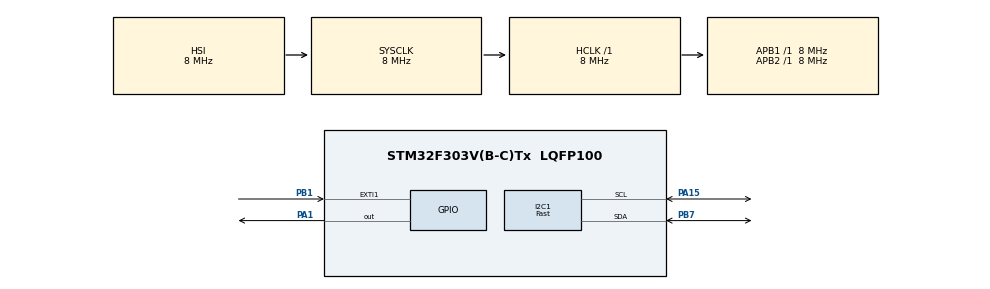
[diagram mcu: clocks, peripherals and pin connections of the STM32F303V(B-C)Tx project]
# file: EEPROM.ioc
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I2C1.I2C_Speed_Mode=I2C_Fast
I2C1.Timing=0x0000020B
Mcu.Family=STM32F3
Mcu.Name=STM32F303V(B-C)Tx
Mcu.Package=LQFP100
NVIC.EXTI1_IRQn=true\:0\:0\:false\:false\:true\:true\:true\:true
NVIC.PriorityGroup=NVIC_PRIORITYGROUP_4
PA1.Signal=GPIO_Output
PA13.Mode=Serial_Wire
PA13.Signal=SYS_JTMS-SWDIO
PA14.Mode=Serial_Wire
PA14.Signal=SYS_JTCK-SWCLK
PA15.Mode=I2C
PA15.Signal=I2C1_SCL
PB1.Signal=GPXTI1
PB7.Mode=I2C
PB7.Signal=I2C1_SDA
ProjectManager.HeapSize=0x200
ProjectManager.StackSize=0x400
ProjectManager.TargetToolchain=STM32CubeIDE
RCC.AHBFreq_Value=8000000
RCC.APB1Freq_Value=8000000
RCC.APB2Freq_Value=8000000
RCC.CortexFreq_Value=8000000
RCC.HSE_VALUE=8000000
RCC.HSI_VALUE=8000000
RCC.LSE_VALUE=32768
RCC.SYSCLKFreq_VALUE=8000000
board=custom

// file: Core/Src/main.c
/* USER CODE BEGIN Header */
/**
  ******************************************************************************
  * @file           : main.c
  * @brief          : Main program body
  ******************************************************************************
  * @attention
  *
  * Copyright (c) 2024 STMicroelectronics.
  * All rights reserved.
  *
  * This software is licensed under terms that can be found in the LICENSE file
  * in the root directory of this software component.
  * If no LICENSE file comes with this software, it is provided AS-IS.
  *
  ******************************************************************************
  */
/* USER CODE END Header */
#include "main.h"

I2C_HandleTypeDef hi2c1;

/* USER CODE BEGIN PV */

#define EEPROM_ADDR 0xA0
uint8_t toWriteN[] = "N";
uint8_t toWriteY[] = "Y";
uint32_t previousMillis = 0;
uint8_t StatusLED[1];

/* USER CODE END PV */

void SystemClock_Config(void);
static void MX_GPIO_Init(void);
static void MX_I2C1_Init(void);

int main(void)
{

  /* MCU Configuration--------------------------------------------------------*/

  /* Reset of all peripherals, Initializes the Flash interface and the Systick. */
  HAL_Init();

  /* Configure the system clock */
  SystemClock_Config();

  /* Initialize all configured peripherals */
  MX_GPIO_Init();
  MX_I2C1_Init();
  /* USER CODE BEGIN 2 */

  HAL_I2C_Mem_Read(&hi2c1, EEPROM_ADDR, 0, 2, StatusLED, 1, 1000);
    if( StatusLED[0] == 78) // Ascii value of 'N' is 78 (N for NO)
    {
      HAL_GPIO_WritePin(GPIOA, GPIO_PIN_1, 0);
    }
    else if ( StatusLED[0] == 89) // Ascii value of 'Y' is 89 (Y for YES)
    {
      HAL_GPIO_WritePin(GPIOA, GPIO_PIN_1, 1);
    }
    else
    {
      HAL_I2C_Mem_Write(&hi2c1, EEPROM_ADDR, 0, 2, toWriteN, 1, 1000);
      HAL_GPIO_WritePin(GPIOA, GPIO_PIN_1, 0);
    }

  /* USER CODE END 2 */

  /* Infinite loop */
  while (1)
  {

  }
}

void SystemClock_Config(void)
{
  RCC_OscInitTypeDef RCC_OscInitStruct = {0};
  RCC_ClkInitTypeDef RCC_ClkInitStruct = {0};
  RCC_PeriphCLKInitTypeDef PeriphClkInit = {0};

  /** Initializes the RCC Oscillators according to the specified parameters
  * in the RCC_OscInitTypeDef structure.
  */
  RCC_OscInitStruct.OscillatorType = RCC_OSCILLATORTYPE_HSI;
  RCC_OscInitStruct.HSIState = RCC_HSI_ON;
  RCC_OscInitStruct.HSICalibrationValue = RCC_HSICALIBRATION_DEFAULT;
  RCC_OscInitStruct.PLL.PLLState = RCC_PLL_NONE;
  if (HAL_RCC_OscConfig(&RCC_OscInitStruct) != HAL_OK)
  {
    Error_Handler();
  }

  /** Initializes the CPU, AHB and APB buses clocks
  */
  RCC_ClkInitStruct.ClockType = RCC_CLOCKTYPE_HCLK|RCC_CLOCKTYPE_SYSCLK
                              |RCC_CLOCKTYPE_PCLK1|RCC_CLOCKTYPE_PCLK2;
  RCC_ClkInitStruct.SYSCLKSource = RCC_SYSCLKSOURCE_HSI;
  RCC_ClkInitStruct.AHBCLKDivider = RCC_SYSCLK_DIV1;
  RCC_ClkInitStruct.APB1CLKDivider = RCC_HCLK_DIV1;
  RCC_ClkInitStruct.APB2CLKDivider = RCC_HCLK_DIV1;

  if (HAL_RCC_ClockConfig(&RCC_ClkInitStruct, FLASH_LATENCY_0) != HAL_OK)
  {
    Error_Handler();
  }
  PeriphClkInit.PeriphClockSelection = RCC_PERIPHCLK_I2C1;
  PeriphClkInit.I2c1ClockSelection = RCC_I2C1CLKSOURCE_HSI;
  if (HAL_RCCEx_PeriphCLKConfig(&PeriphClkInit) != HAL_OK)
  {
    Error_Handler();
  }
}

static void MX_I2C1_Init(void)
{

  hi2c1.Instance = I2C1;
  hi2c1.Init.Timing = 0x0000020B;
  hi2c1.Init.OwnAddress1 = 0;
  hi2c1.Init.AddressingMode = I2C_ADDRESSINGMODE_7BIT;
  hi2c1.Init.DualAddressMode = I2C_DUALADDRESS_DISABLE;
  hi2c1.Init.OwnAddress2 = 0;
  hi2c1.Init.OwnAddress2Masks = I2C_OA2_NOMASK;
  hi2c1.Init.GeneralCallMode = I2C_GENERALCALL_DISABLE;
  hi2c1.Init.NoStretchMode = I2C_NOSTRETCH_DISABLE;
  if (HAL_I2C_Init(&hi2c1) != HAL_OK)
  {
    Error_Handler();
  }

  /** Configure Analogue filter
  */
  if (HAL_I2CEx_ConfigAnalogFilter(&hi2c1, I2C_ANALOGFILTER_ENABLE) != HAL_OK)
  {
    Error_Handler();
  }

  /** Configure Digital filter
  */
  if (HAL_I2CEx_ConfigDigitalFilter(&hi2c1, 0) != HAL_OK)
  {
    Error_Handler();
  }

}

static void MX_GPIO_Init(void)
{
  GPIO_InitTypeDef GPIO_InitStruct = {0};

  /* GPIO Ports Clock Enable */
  __HAL_RCC_GPIOA_CLK_ENABLE();
  __HAL_RCC_GPIOB_CLK_ENABLE();

  /*Configure GPIO pin Output Level */
  HAL_GPIO_WritePin(GPIOA, GPIO_PIN_1, GPIO_PIN_RESET);

  /*Configure GPIO pin : PA1 */
  GPIO_InitStruct.Pin = GPIO_PIN_1;
  GPIO_InitStruct.Mode = GPIO_MODE_OUTPUT_PP;
  GPIO_InitStruct.Pull = GPIO_NOPULL;
  GPIO_InitStruct.Speed = GPIO_SPEED_FREQ_LOW;
  HAL_GPIO_Init(GPIOA, &GPIO_InitStruct);

  /*Configure GPIO pin : PB1 */
  GPIO_InitStruct.Pin = GPIO_PIN_1;
  GPIO_InitStruct.Mode = GPIO_MODE_IT_RISING;
  GPIO_InitStruct.Pull = GPIO_NOPULL;
  HAL_GPIO_Init(GPIOB, &GPIO_InitStruct);

  /* EXTI interrupt init*/
  HAL_NVIC_SetPriority(EXTI1_IRQn, 0, 0);
  HAL_NVIC_EnableIRQ(EXTI1_IRQn);

}

/* USER CODE BEGIN 4 */

void HAL_GPIO_EXTI_Callback(uint16_t GPIO_Pin)
{
  if (GPIO_Pin == GPIO_PIN_1 && (HAL_GetTick() - previousMillis > 500))
  {
    HAL_I2C_Mem_Read(&hi2c1, EEPROM_ADDR, 0, 2, StatusLED, 1, 1000);
    if( StatusLED[0] == 78) // Ascii value of 'N' is 78 (N for NO)
    {
      HAL_I2C_Mem_Write(&hi2c1, EEPROM_ADDR, 0, 2, toWriteY, 1, 1000);
      HAL_GPIO_WritePin(GPIOA, GPIO_PIN_1, 1);
    }
    else if ( StatusLED[0] == 89) // Ascii value of 'Y' is 89 (Y for YES)
    {
      HAL_I2C_Mem_Write(&hi2c1, EEPROM_ADDR, 0, 2, toWriteN, 1, 1000);
      HAL_GPIO_WritePin(GPIOA, GPIO_PIN_1, 0);
    }
    previousMillis = HAL_GetTick();
  }
}

/* USER CODE END 4 */

void Error_Handler(void)
{
  __disable_irq();
  while (1)
  {
  }
}
